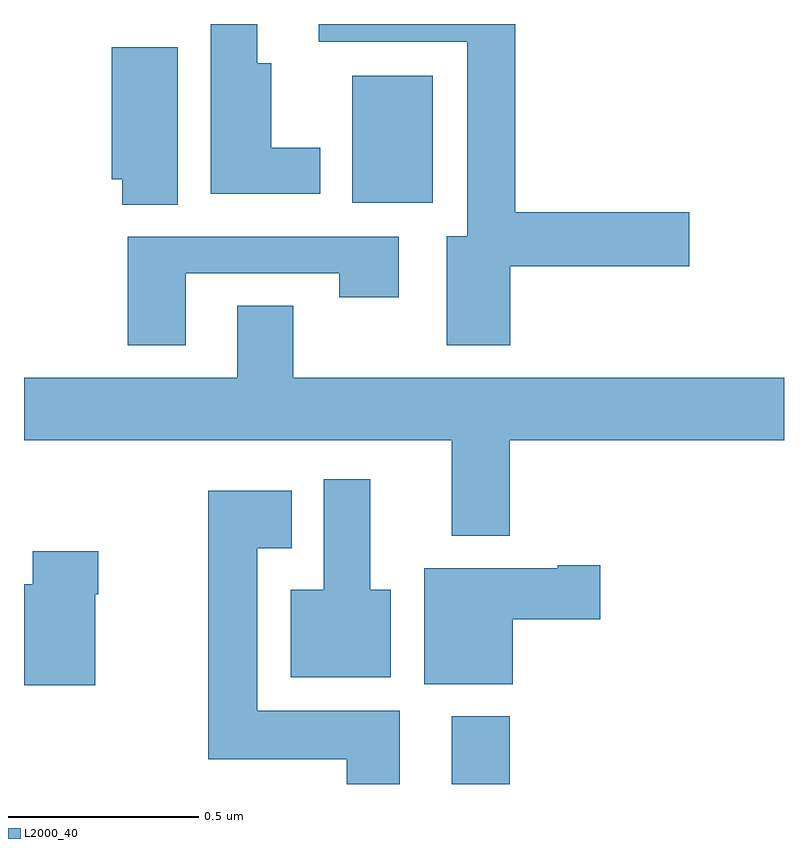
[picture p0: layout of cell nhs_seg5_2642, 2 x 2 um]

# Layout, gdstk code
import gdstk
lib = gdstk.Library(unit=1e-6, precision=1e-09)
def R(c, l, rs):  # rectangles x0, y0, x1, y1
    for r in rs: c.add(gdstk.rectangle(r[:2], r[2:], *l))
def P(c, l, *ps):  # polygons
    for p in ps: c.add(gdstk.Polygon(p, *l))
L2000_40 = (2000, 40)

nhs_seg5_2642 = lib.new_cell('nhs_seg5_2642')
R(nhs_seg5_2642, L2000_40, [(147.125,911.799,147.278,911.977), (146.864,913.328,147.076,913.663)])
P(nhs_seg5_2642, L2000_40, [(146.779,913.474),(146.65,913.474),(146.65,913.696),(146.614,913.696),(146.614,913.799),(146.492,913.799),(146.492,913.352),(146.779,913.352)],
  [(147.28,913.162),(147.751,913.162),(147.751,913.304),(147.293,913.304),(147.293,913.799),(146.775,913.799),(146.775,913.752),(147.167,913.752),(147.167,913.24),(147.113,913.24),(147.113,912.954),(147.28,912.954)],
  [(146.404,913.738),(146.231,913.738),(146.231,913.391),(146.258,913.391),(146.258,913.324),(146.404,913.324)],
  [(146.425,913.143),(146.83,913.143),(146.83,913.08),(146.986,913.08),(146.986,913.239),(146.273,913.239),(146.273,912.954),(146.425,912.954)],
  [(147.278,912.704),(148,912.704),(148,912.868),(146.709,912.868),(146.709,913.058),(146.561,913.058),(146.561,912.868),(146,912.868),(146,912.704),(147.125,912.704),(147.125,912.452),(147.278,912.452)],
  [(146.965,912.31),(146.911,912.31),(146.911,912.601),(146.789,912.601),(146.789,912.31),(146.702,912.31),(146.702,912.08),(146.965,912.08)],
  [(146.989,911.992),(146.614,911.992),(146.614,912.419),(146.704,912.419),(146.704,912.571),(146.485,912.571),(146.485,911.864),(146.849,911.864),(146.849,911.799),(146.989,911.799)],
  [(146.188,912.299),(146.196,912.299),(146.196,912.412),(146.023,912.412),(146.023,912.325),(146,912.325),(146,912.059),(146.188,912.059)],
  [(147.286,912.233),(147.517,912.233),(147.517,912.375),(147.404,912.375),(147.404,912.367),(147.053,912.367),(147.053,912.062),(147.286,912.062)])

lib.write_gds('nhs_seg5_2642.gds')
